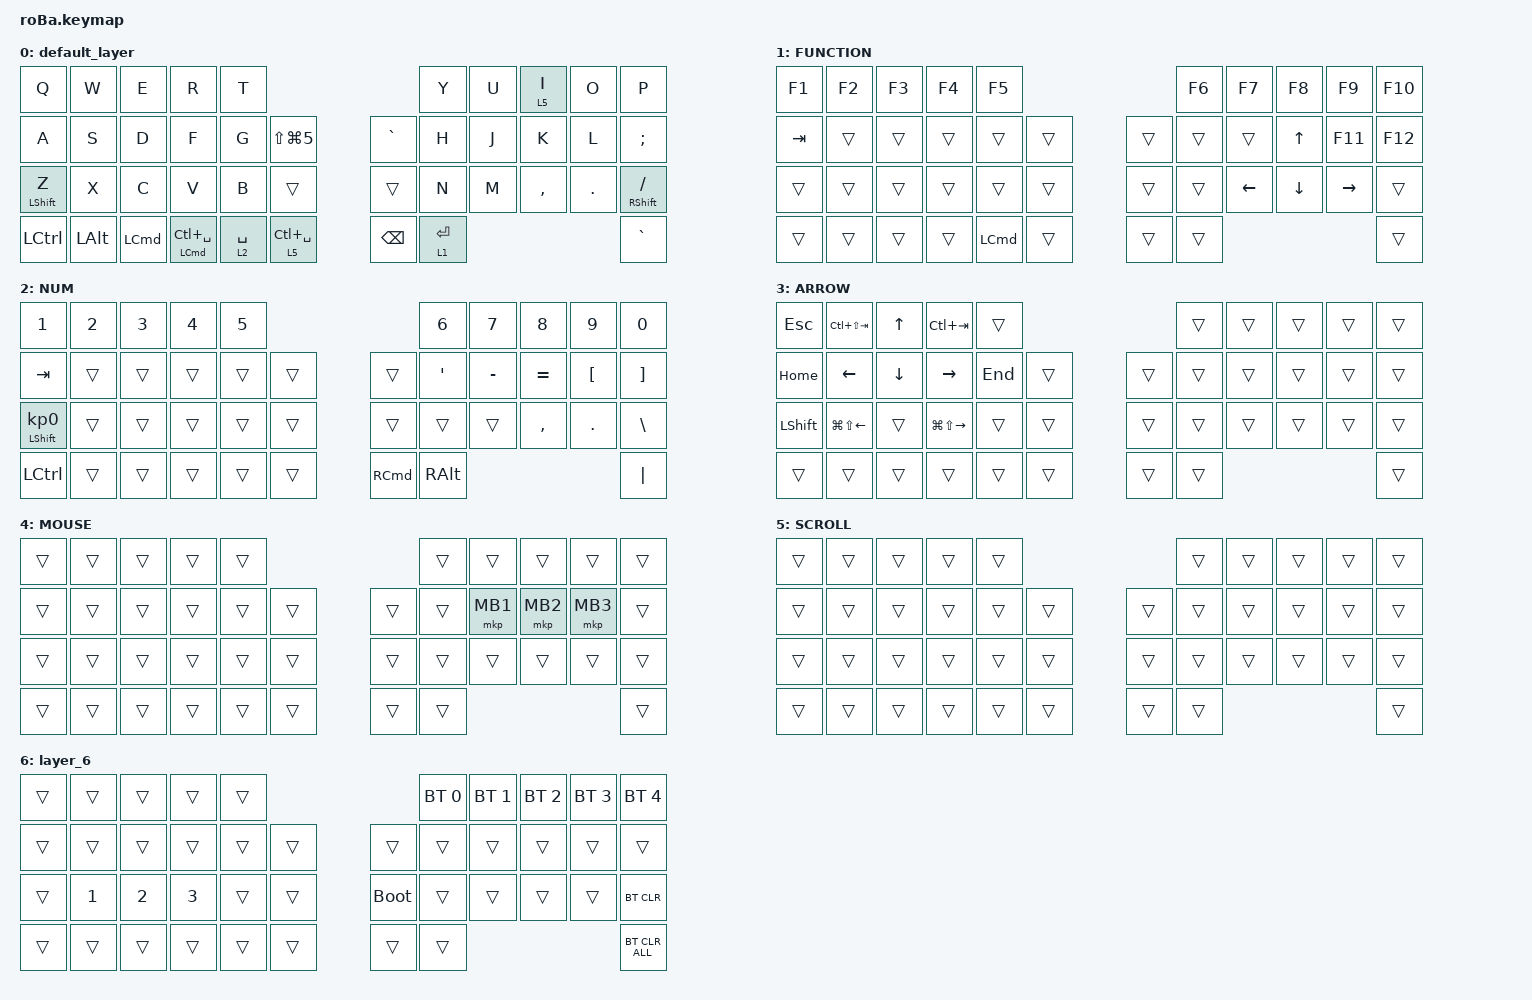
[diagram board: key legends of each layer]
#include <behaviors.dtsi>
#include <dt-bindings/zmk/bt.h>
#include <dt-bindings/zmk/keys.h>
#include <dt-bindings/zmk/pointing.h>

&mt {
    flavor = "balanced";
    quick-tap-ms = <0>;
};

&trackball {
    automouse-layer = <4>;
    scroll-layers = <5>;

    // arrows {
    //     layers = <3>;
    //     bindings =
    //         <&kp RIGHT_ARROW>,
    //         <&kp LEFT_ARROW>,
    //         <&kp UP_ARROW>,
    //         <&kp DOWN_ARROW>;
    //     tick = <10>;
    //     wait-ms = <5>;
    //     tap-ms = <5>;
    // };
};

/ {
    combos {
        compatible = "zmk,combos";

        tab {
            bindings = <&kp TAB>;
            key-positions = <11 12>;
        };

        shift_tab {
            bindings = <&kp LS(TAB)>;
            key-positions = <12 13>;
        };

        muhennkann {
            bindings = <&to_layer_0 INT_MUHENKAN>;
            key-positions = <11 10>;
        };

        double_quotation {
            bindings = <&kp DOUBLE_QUOTES>;
            key-positions = <20 21>;
        };

        eq {
            bindings = <&kp EQUAL>;
            key-positions = <24 25>;
        };
    };

    macros {
        to_layer_0: to_layer_0 {
            compatible = "zmk,behavior-macro-one-param";
            #binding-cells = <1>;
            bindings = <&to 0 &macro_param_1to1 &kp MACRO_PLACEHOLDER>;
            label = "TO_LAYER_0";
        };
    };

    behaviors {
        lt_to_layer_0: lt_to_layer_0 {
            compatible = "zmk,behavior-hold-tap";
            label = "LAYER_TAP_TO_0";
            bindings = <&mo>, <&to_layer_0>;

            #binding-cells = <2>;
            tapping-term-ms = <200>;
        };
    };

    keymap {
        compatible = "zmk,keymap";

        default_layer {
            bindings = <
&kp Q             &kp W         &kp E             &kp R                       &kp T                                                       &kp Y        &kp U  &lt 5 I    &kp O    &kp P
&kp A             &kp S         &kp D             &kp F                       &kp G        &kp LS(LG(N5))                  &kp GRAVE      &kp H        &kp J  &kp K      &kp L    &kp SEMICOLON
&mt LEFT_SHIFT Z  &kp X         &kp C             &kp V                       &kp B        &trans                          &trans         &kp N        &kp M  &kp COMMA  &kp DOT  &mt RIGHT_SHIFT SLASH
&kp LCTRL         &kp LEFT_ALT  &kp LEFT_COMMAND  &mt LEFT_COMMAND LC(SPACE)  &lt 2 SPACE  &lt_to_layer_0 5 LC(SPACE)      &kp BACKSPACE  &lt 1 ENTER                             &kp GRAVE
            >;
        };

        FUNCTION {
            bindings = <
&kp F1   &kp F2  &kp F3  &kp F4  &kp F5                                &kp F6  &kp F7          &kp F8          &kp F9           &kp F10
&kp TAB  &trans  &trans  &trans  &trans            &trans      &trans  &trans  &trans          &kp UP_ARROW    &kp F11          &kp F12
&trans   &trans  &trans  &trans  &trans            &trans      &trans  &trans  &kp LEFT_ARROW  &kp DOWN_ARROW  &kp RIGHT_ARROW  &trans
&trans   &trans  &trans  &trans  &kp LEFT_COMMAND  &trans      &trans  &trans                                                   &trans
            >;
        };

        NUM {
            bindings = <
&kp NUMBER_1                &kp NUMBER_2  &kp NUMBER_3  &kp NUMBER_4  &kp N5                                 &kp NUMBER_6      &kp N7     &kp N8     &kp N9            &kp N0
&kp TAB                     &trans        &trans        &trans        &trans  &trans      &trans             &kp SINGLE_QUOTE  &kp MINUS  &kp EQUAL  &kp LEFT_BRACKET  &kp RIGHT_BRACKET
&mt LEFT_SHIFT KP_NUMBER_0  &trans        &trans        &trans        &trans  &trans      &trans             &trans            &trans     &kp COMMA  &kp PERIOD        &kp BACKSLASH
&kp LCTRL                   &trans        &trans        &trans        &trans  &trans      &kp RIGHT_COMMAND  &kp RIGHT_ALT                                             &kp PIPE
            >;
        };

        ARROW {
            bindings = <
&kp ESCAPE      &kp LC(LS(TAB))         &kp UP_ARROW    &kp LC(TAB)              &trans                       &trans  &trans  &trans  &trans  &trans
&kp HOME        &kp LEFT_ARROW          &kp DOWN_ARROW  &kp RIGHT_ARROW          &kp END  &trans      &trans  &trans  &trans  &trans  &trans  &trans
&kp LEFT_SHIFT  &kp LG(LS(LEFT_ARROW))  &trans          &kp LG(LS(RIGHT_ARROW))  &trans   &trans      &trans  &trans  &trans  &trans  &trans  &trans
&trans          &trans                  &trans          &trans                   &trans   &trans      &trans  &trans                          &trans
            >;
        };

        MOUSE {
            bindings = <
&trans  &trans  &trans  &trans  &trans                      &trans  &trans    &trans    &trans    &trans
&trans  &trans  &trans  &trans  &trans  &trans      &trans  &trans  &mkp MB1  &mkp MB2  &mkp MB3  &trans
&trans  &trans  &trans  &trans  &trans  &trans      &trans  &trans  &trans    &trans    &trans    &trans
&trans  &trans  &trans  &trans  &trans  &trans      &trans  &trans                                &trans
            >;
        };

        SCROLL {
            bindings = <
&trans  &trans  &trans  &trans  &trans                      &trans  &trans  &trans  &trans  &trans
&trans  &trans  &trans  &trans  &trans  &trans      &trans  &trans  &trans  &trans  &trans  &trans
&trans  &trans  &trans  &trans  &trans  &trans      &trans  &trans  &trans  &trans  &trans  &trans
&trans  &trans  &trans  &trans  &trans  &trans      &trans  &trans                          &trans
            >;
        };

        layer_6 {
            bindings = <
&trans  &trans        &trans        &trans        &trans                           &bt BT_SEL 0  &bt BT_SEL 1  &bt BT_SEL 2  &bt BT_SEL 3  &bt BT_SEL 4
&trans  &trans        &trans        &trans        &trans  &trans      &trans       &trans        &trans        &trans        &trans        &trans
&trans  &kp NUMBER_1  &kp NUMBER_2  &kp NUMBER_3  &trans  &trans      &bootloader  &trans        &trans        &trans        &trans        &bt BT_CLR
&trans  &trans        &trans        &trans        &trans  &trans      &trans       &trans                                                  &bt BT_CLR_ALL
            >;
        };
    };
};
